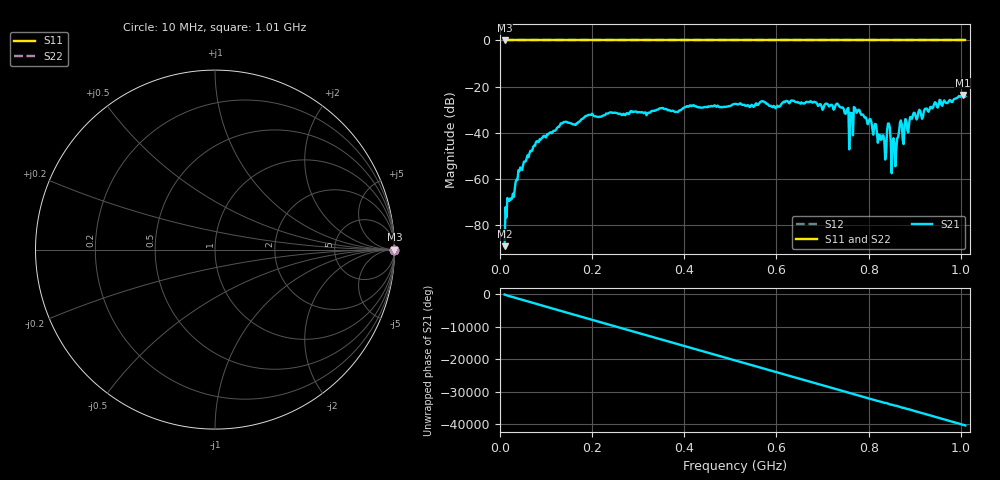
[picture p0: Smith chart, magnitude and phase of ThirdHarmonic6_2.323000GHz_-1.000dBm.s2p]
! 8/17/2025 3:18:42 AM
! C:\ANRITSUVNA\TEMP\TEMP.S2P
! CHANNEL.1
! TR.MEASUREMENT
! RAW.DATA
! RF.CORRECTION.OFF
! AVERAGING.OFF
! IF.BANDWIDTH: 5KHZ
! SWEEPTYPE:  FREQ.SWEEP(Linear)
! Reference Plane Port Info
! PORT:  PORT1  PORT2
! DISTANCE:  0  m  0  m
! TIME:  0  s  0  s
! PHASE.OFFSET:  0  deg.  0  deg.
! LOSS:  0  dB  0  dB
! REF.LOSS:  0  dB  0  dB
! REF.FREQ:  0  Hz  0  Hz
! Power Info
! POWER:  -20  dBm  -20  dBm
! EFF.POWER:  -20  dBm  -20  dBm
! SOURCE.ATTEN:  0  dB  0  dB
! TEST.ATTEN:  0  dB  0  dB
# GHZ S RI R 50.0
! FREQ.GHZ  S11RE  S11IM  S21RE  S21IM  S12RE  S12IM  S22RE  S22IM
!; PortSelection: Port_12
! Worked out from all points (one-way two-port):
!   501 points, 10 MHz to 1.01 GHz, reference 50 ohm
!   highest |S21| = -23.54 dB at 1.004 GHz (marker M1); lowest = -88.9 dB at 10 MHz (marker M2)
!   lowest |S11| = 0.0 dB at 10 MHz (marker M3)
!   |S11| at or under -10 dB: nowhere
!   |S22| runs from 0.0 to 0.0 dB; largest |S21 - S12| = 1.1
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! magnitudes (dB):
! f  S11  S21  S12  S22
! 10 MHz  0.0  -88.9  0.0  0.0
! 16 MHz  0.0  -68.1  0.0  0.0
! 40 MHz  0.0  -56.1  0.0  0.0
! 76 MHz  0.0  -45.5  0.0  0.0
! 136 MHz  0.0  -35.8  0.0  0.0
! 178 MHz  0.0  -33.9  0.0  0.0
! 344 MHz  0.0  -29.7  0.0  0.0
! 510 MHz  0.0  -27.4  0.0  0.0
! 678 MHz  0.0  -26.9  0.0  0.0
! 734 MHz  0.0  -27.8  0.0  0.0
! 752 MHz  0.0  -30.7  0.0  0.0
! 762 MHz  0.0  -33.0  0.0  0.0
! 772 MHz  0.0  -30.0  0.0  0.0
! 780 MHz  0.0  -30.1  0.0  0.0
! 834 MHz  0.0  -43.2  0.0  0.0
! 844 MHz  0.0  -36.0  0.0  0.0
! 854 MHz  0.0  -42.3  0.0  0.0
! 868 MHz  0.0  -35.7  0.0  0.0
! 878 MHz  0.0  -36.5  0.0  0.0
! 896 MHz  0.0  -32.3  0.0  0.0
! 1.004 GHz  0.0  -23.5  0.0  0.0
! 1.01 GHz  0.0  -24.2  0.0  0.0
